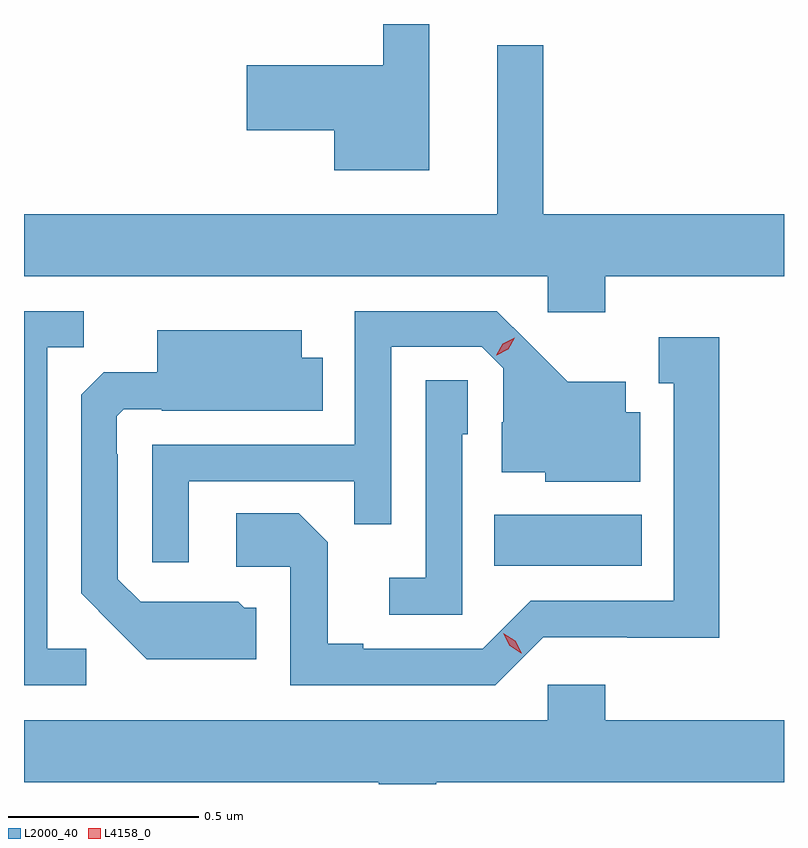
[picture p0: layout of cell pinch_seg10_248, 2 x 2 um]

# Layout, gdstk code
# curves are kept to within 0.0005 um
import gdstk
lib = gdstk.Library(unit=1e-6, precision=1e-09)
def R(c, l, rs):  # rectangles x0, y0, x1, y1
    for r in rs: c.add(gdstk.rectangle(r[:2], r[2:], *l))
def P(c, l, *ps):  # polygons
    for p in ps: c.add(gdstk.Polygon(p, *l))
L2000_40 = (2000, 40)
L4158_0 = (4158, 0)

pinch_seg10_248 = lib.new_cell('pinch_seg10_248')
R(pinch_seg10_248, L2000_40, [(614.668,1307.546,615.055,1307.68)])
P(pinch_seg10_248, L2000_40, [(614.497,1308.972),(614.376,1308.972),(614.376,1308.863),(614.016,1308.863),(614.016,1308.692),(614.246,1308.692),(614.246,1308.587),(614.497,1308.587)],
  [(614.96,1308.308),(615.43,1308.308),(615.43,1308.472),(614.797,1308.472),(614.797,1308.916),(614.675,1308.916),(614.675,1308.472),(613.43,1308.472),(613.43,1308.308),(614.808,1308.308),(614.808,1308.213),(614.96,1308.213)],
  [(613.863,1307.769),(614.299,1307.769),(614.299,1307.656),(614.397,1307.656),(614.397,1308.123),(614.634,1308.123),(614.691,1308.066),(614.691,1307.924),(614.687,1307.924),(614.687,1307.792),(614.802,1307.792),(614.802,1307.768),(615.052,1307.768),(615.052,1307.95),(615.013,1307.95),(615.013,1308.031),(614.861,1308.031),(614.674,1308.216),(614.301,1308.216),(614.301,1307.865),(613.767,1307.865),(613.767,1307.556),(613.863,1307.556)],
  [(613.594,1307.328),(613.491,1307.328),(613.491,1308.121),(613.587,1308.121),(613.587,1308.216),(613.43,1308.216),(613.43,1307.232),(613.594,1307.232)],
  [(614.041,1307.436),(614.01,1307.436),(613.994,1307.452),(613.86,1307.452),(613.86,1307.451),(613.737,1307.451),(613.677,1307.511),(613.677,1307.84),(613.674,1307.84),(613.674,1307.94),(613.692,1307.958),(613.792,1307.958),(613.792,1307.954),(614.216,1307.954),(614.216,1308.094),(614.161,1308.094),(614.161,1308.166),(613.781,1308.166),(613.781,1308.055),(613.64,1308.055),(613.581,1307.996),(613.581,1307.474),(613.753,1307.3),(614.041,1307.3)],
  [(614.796,1307.358),(615.018,1307.358),(615.018,1307.357),(615.259,1307.357),(615.259,1308.148),(615.101,1308.148),(615.101,1308.027),(615.14,1308.027),(615.14,1307.454),(614.763,1307.454),(614.637,1307.328),(614.323,1307.328),(614.323,1307.341),(614.229,1307.341),(614.229,1307.608),(614.153,1307.684),(613.989,1307.684),(613.989,1307.544),(614.13,1307.544),(614.13,1307.232),(614.67,1307.232)],
  [(614.583,1307.892),(614.598,1307.892),(614.598,1308.035),(614.487,1308.035),(614.487,1307.515),(614.391,1307.515),(614.391,1307.418),(614.583,1307.418)],
  [(614.515,1306.976),(615.43,1306.976),(615.43,1307.14),(614.96,1307.14),(614.96,1307.233),(614.808,1307.233),(614.808,1307.14),(613.43,1307.14),(613.43,1306.976),(614.363,1306.976),(614.363,1306.972),(614.515,1306.972)])
P(pinch_seg10_248, L4158_0, [(614.739,1307.316),(614.708,1307.336),(614.691,1307.369),(614.691,1307.369),(614.691,1307.369),(614.723,1307.349),(614.74,1307.316),(614.74,1307.316)],
  [(614.673,1308.1),(614.673,1308.1),(614.69,1308.13),(614.721,1308.146),(614.721,1308.146),(614.721,1308.146),(614.704,1308.116),(614.674,1308.1)])

lib.write_gds('pinch_seg10_248.gds')
